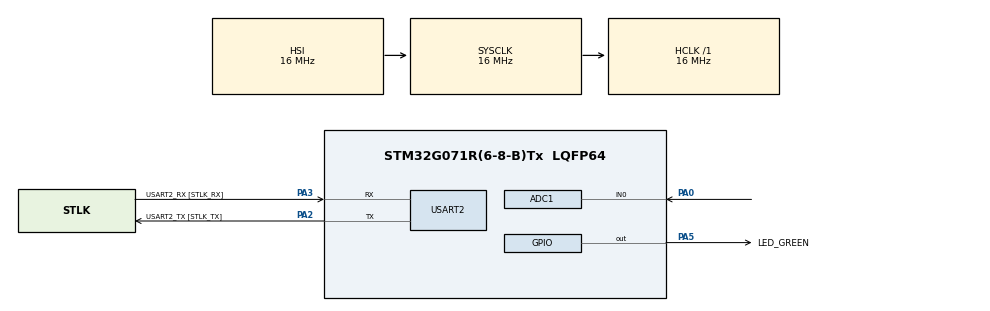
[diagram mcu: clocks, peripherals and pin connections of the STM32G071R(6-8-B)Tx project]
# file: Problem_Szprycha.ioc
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ADC1.Channel-1\#ChannelRegularConversion=ADC_CHANNEL_0
ADC1.ContinuousConvMode=ENABLE
ADC1.DMAContinuousRequests=DISABLE
ADC1.NbrOfConversionFlag=1
ADC1.Rank-1\#ChannelRegularConversion=1
ADC1.SamplingTime-1\#ChannelRegularConversion=ADC_SAMPLINGTIME_COMMON_1
ADC1.SelectedChannel=ADC_CHANNEL_0
ADC1.master=1
Dma.ADC1.0.Direction=DMA_PERIPH_TO_MEMORY
Dma.ADC1.0.EventEnable=DISABLE
Dma.ADC1.0.Instance=DMA1_Channel1
Dma.ADC1.0.MemDataAlignment=DMA_MDATAALIGN_HALFWORD
Dma.ADC1.0.MemInc=DMA_MINC_ENABLE
Dma.ADC1.0.Mode=DMA_CIRCULAR
Dma.ADC1.0.PeriphDataAlignment=DMA_PDATAALIGN_HALFWORD
Dma.ADC1.0.PeriphInc=DMA_PINC_DISABLE
Dma.ADC1.0.Polarity=HAL_DMAMUX_REQ_GEN_RISING
Dma.ADC1.0.Priority=DMA_PRIORITY_LOW
Dma.ADC1.0.RequestNumber=1
Dma.ADC1.0.SignalID=NONE
Dma.ADC1.0.SyncEnable=DISABLE
Dma.ADC1.0.SyncPolarity=HAL_DMAMUX_SYNC_NO_EVENT
Dma.ADC1.0.SyncRequestNumber=1
Dma.ADC1.0.SyncSignalID=NONE
Dma.Request0=ADC1
Mcu.Family=STM32G0
Mcu.Name=STM32G071R(6-8-B)Tx
Mcu.Package=LQFP64
PA0.Mode=IN0
PA0.Signal=ADC1_IN0
PA13.GPIO_Label=TMS
PA13.Mode=Serial_Wire
PA13.Signal=SYS_SWDIO
PA14-BOOT0.GPIO_Label=TCK
PA14-BOOT0.Mode=Serial_Wire
PA14-BOOT0.Signal=SYS_SWCLK
PA2.GPIO_Label=USART2_TX [STLK_TX]
PA2.GPIO_PuPd=GPIO_PULLUP
PA2.Mode=Asynchronous
PA2.Signal=USART2_TX
PA3.GPIO_Label=USART2_RX [STLK_RX]
PA3.GPIO_PuPd=GPIO_PULLUP
PA3.Mode=Asynchronous
PA3.Signal=USART2_RX
PA5.GPIO_Label=LED_GREEN
PA5.GPIO_Speed=GPIO_SPEED_FREQ_HIGH
PA5.Signal=GPIO_Output
PC13.Mode=SYS_WakeUp1
PC13.Signal=SYS_WKUP2
PC14-OSC32_IN\ (PC14).Mode=LSE-External-Oscillator
PC14-OSC32_IN\ (PC14).Signal=RCC_OSC32_IN
PC15-OSC32_OUT\ (PC15).Mode=LSE-External-Oscillator
PC15-OSC32_OUT\ (PC15).Signal=RCC_OSC32_OUT
PF0-OSC_IN\ (PF0).GPIO_Label=MCO
PF0-OSC_IN\ (PF0).Mode=HSE-External-Clock-Source
PF0-OSC_IN\ (PF0).Signal=RCC_OSC_IN
ProjectManager.HeapSize=0x200
ProjectManager.StackSize=0x400
ProjectManager.TargetToolchain=STM32CubeIDE
RCC.AHBFreq_Value=16000000
RCC.CortexFreq_Value=16000000
RCC.EXTERNAL_CLOCK_VALUE=12288000
RCC.HCLKFreq_Value=16000000
RCC.HSE_VALUE=8000000
RCC.HSI_VALUE=16000000
RCC.SYSCLKFreq_VALUE=16000000
RCC.VCOOutputFreq_Value=128000000
USART2.VirtualMode-Asynchronous=VM_ASYNC
VP_SYS_VS_DBSignals.Mode=DisableDeadBatterySignals
board=NUCLEO-G071RB

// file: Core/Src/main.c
/* USER CODE BEGIN Header */
/**
  ******************************************************************************
  * @file           : main.c
  * @brief          : Main program body
  ******************************************************************************
  * @attention
  *
  * Copyright (c) 2024 STMicroelectronics.
  * All rights reserved.
  *
  * This software is licensed under terms that can be found in the LICENSE file
  * in the root directory of this software component.
  * If no LICENSE file comes with this software, it is provided AS-IS.
  *
  ******************************************************************************
  */
/* USER CODE END Header */
#include "main.h"

/* USER CODE BEGIN Includes */
#include <stdio.h>
/* USER CODE END Includes */

ADC_HandleTypeDef hadc1;
DMA_HandleTypeDef hdma_adc1;

UART_HandleTypeDef huart2;

/* USER CODE BEGIN PV */
volatile uint16_t adcVal[10];
uint16_t adcValTest;
/* USER CODE END PV */

void SystemClock_Config(void);
static void MX_GPIO_Init(void);
static void MX_DMA_Init(void);
static void MX_USART2_UART_Init(void);
static void MX_ADC1_Init(void);
/* USER CODE BEGIN PFP */
#ifdef __GNUC__
/* With GCC/RAISONANCE, small printf (option LD Linker->Libraries->Small printf
   set to 'Yes') calls __io_putchar() */
#define PUTCHAR_PROTOTYPE int __io_putchar(int ch)
#else
#define PUTCHAR_PROTOTYPE int fputc(int ch, FILE *f)
#endif /* __GNUC__ */
/* USER CODE END PFP */

int main(void)
{

  /* MCU Configuration--------------------------------------------------------*/

  /* Reset of all peripherals, Initializes the Flash interface and the Systick. */
  HAL_Init();

  /* Configure the system clock */
  SystemClock_Config();

  /* Initialize all configured peripherals */
  MX_GPIO_Init();
  MX_DMA_Init();
  MX_USART2_UART_Init();
  MX_ADC1_Init();
  /* USER CODE BEGIN 2 */
  HAL_ADC_Start_DMA(&hadc1, (uint32_t*)&adcVal, 10);
  /* USER CODE END 2 */

  /* Infinite loop */
  /* USER CODE BEGIN WHILE */
  while (1)
  {
	  printf("ADC: %d, %d, %d \n\r", adcVal[0], adcVal[1], adcVal[3]);
	  HAL_Delay(100);
	  adcValTest = adcVal[0];
	  printf("AdcValTest: %d \n\r", adcValTest);
	  HAL_ADC_Start_DMA(&hadc1, (uint32_t*)&adcVal, 10);
    /* USER CODE END WHILE */

  }
}

void SystemClock_Config(void)
{
  RCC_OscInitTypeDef RCC_OscInitStruct = {0};
  RCC_ClkInitTypeDef RCC_ClkInitStruct = {0};

  /** Configure the main internal regulator output voltage
  */
  HAL_PWREx_ControlVoltageScaling(PWR_REGULATOR_VOLTAGE_SCALE1);

  /** Initializes the RCC Oscillators according to the specified parameters
  * in the RCC_OscInitTypeDef structure.
  */
  RCC_OscInitStruct.OscillatorType = RCC_OSCILLATORTYPE_HSI;
  RCC_OscInitStruct.HSIState = RCC_HSI_ON;
  RCC_OscInitStruct.HSIDiv = RCC_HSI_DIV1;
  RCC_OscInitStruct.HSICalibrationValue = RCC_HSICALIBRATION_DEFAULT;
  RCC_OscInitStruct.PLL.PLLState = RCC_PLL_NONE;
  if (HAL_RCC_OscConfig(&RCC_OscInitStruct) != HAL_OK)
  {
    Error_Handler();
  }

  /** Initializes the CPU, AHB and APB buses clocks
  */
  RCC_ClkInitStruct.ClockType = RCC_CLOCKTYPE_HCLK|RCC_CLOCKTYPE_SYSCLK
                              |RCC_CLOCKTYPE_PCLK1;
  RCC_ClkInitStruct.SYSCLKSource = RCC_SYSCLKSOURCE_HSI;
  RCC_ClkInitStruct.AHBCLKDivider = RCC_SYSCLK_DIV1;
  RCC_ClkInitStruct.APB1CLKDivider = RCC_HCLK_DIV1;

  if (HAL_RCC_ClockConfig(&RCC_ClkInitStruct, FLASH_LATENCY_0) != HAL_OK)
  {
    Error_Handler();
  }
}

static void MX_ADC1_Init(void)
{

  ADC_ChannelConfTypeDef sConfig = {0};

  /** Configure the global features of the ADC (Clock, Resolution, Data Alignment and number of conversion)
  */
  hadc1.Instance = ADC1;
  hadc1.Init.ClockPrescaler = ADC_CLOCK_SYNC_PCLK_DIV2;
  hadc1.Init.Resolution = ADC_RESOLUTION_12B;
  hadc1.Init.DataAlign = ADC_DATAALIGN_RIGHT;
  hadc1.Init.ScanConvMode = ADC_SCAN_DISABLE;
  hadc1.Init.EOCSelection = ADC_EOC_SINGLE_CONV;
  hadc1.Init.LowPowerAutoWait = DISABLE;
  hadc1.Init.LowPowerAutoPowerOff = DISABLE;
  hadc1.Init.ContinuousConvMode = ENABLE;
  hadc1.Init.NbrOfConversion = 1;
  hadc1.Init.ExternalTrigConv = ADC_SOFTWARE_START;
  hadc1.Init.ExternalTrigConvEdge = ADC_EXTERNALTRIGCONVEDGE_NONE;
  hadc1.Init.DMAContinuousRequests = DISABLE;
  hadc1.Init.Overrun = ADC_OVR_DATA_PRESERVED;
  hadc1.Init.SamplingTimeCommon1 = ADC_SAMPLETIME_1CYCLE_5;
  hadc1.Init.SamplingTimeCommon2 = ADC_SAMPLETIME_1CYCLE_5;
  hadc1.Init.OversamplingMode = DISABLE;
  hadc1.Init.TriggerFrequencyMode = ADC_TRIGGER_FREQ_HIGH;
  if (HAL_ADC_Init(&hadc1) != HAL_OK)
  {
    Error_Handler();
  }

  /** Configure Regular Channel
  */
  sConfig.Channel = ADC_CHANNEL_0;
  sConfig.Rank = ADC_REGULAR_RANK_1;
  sConfig.SamplingTime = ADC_SAMPLINGTIME_COMMON_1;
  if (HAL_ADC_ConfigChannel(&hadc1, &sConfig) != HAL_OK)
  {
    Error_Handler();
  }

}

static void MX_USART2_UART_Init(void)
{

  huart2.Instance = USART2;
  huart2.Init.BaudRate = 115200;
  huart2.Init.WordLength = UART_WORDLENGTH_8B;
  huart2.Init.StopBits = UART_STOPBITS_1;
  huart2.Init.Parity = UART_PARITY_NONE;
  huart2.Init.Mode = UART_MODE_TX_RX;
  huart2.Init.HwFlowCtl = UART_HWCONTROL_NONE;
  huart2.Init.OverSampling = UART_OVERSAMPLING_16;
  huart2.Init.OneBitSampling = UART_ONE_BIT_SAMPLE_DISABLE;
  huart2.Init.ClockPrescaler = UART_PRESCALER_DIV1;
  huart2.AdvancedInit.AdvFeatureInit = UART_ADVFEATURE_NO_INIT;
  if (HAL_UART_Init(&huart2) != HAL_OK)
  {
    Error_Handler();
  }
  if (HAL_UARTEx_SetTxFifoThreshold(&huart2, UART_TXFIFO_THRESHOLD_1_8) != HAL_OK)
  {
    Error_Handler();
  }
  if (HAL_UARTEx_SetRxFifoThreshold(&huart2, UART_RXFIFO_THRESHOLD_1_8) != HAL_OK)
  {
    Error_Handler();
  }
  if (HAL_UARTEx_DisableFifoMode(&huart2) != HAL_OK)
  {
    Error_Handler();
  }

}

static void MX_DMA_Init(void)
{

  /* DMA controller clock enable */
  __HAL_RCC_DMA1_CLK_ENABLE();

}

static void MX_GPIO_Init(void)
{
  GPIO_InitTypeDef GPIO_InitStruct = {0};

  /* GPIO Ports Clock Enable */
  __HAL_RCC_GPIOC_CLK_ENABLE();
  __HAL_RCC_GPIOF_CLK_ENABLE();
  __HAL_RCC_GPIOA_CLK_ENABLE();

  /*Configure GPIO pin Output Level */
  HAL_GPIO_WritePin(LED_GREEN_GPIO_Port, LED_GREEN_Pin, GPIO_PIN_RESET);

  /*Configure GPIO pin : LED_GREEN_Pin */
  GPIO_InitStruct.Pin = LED_GREEN_Pin;
  GPIO_InitStruct.Mode = GPIO_MODE_OUTPUT_PP;
  GPIO_InitStruct.Pull = GPIO_NOPULL;
  GPIO_InitStruct.Speed = GPIO_SPEED_FREQ_HIGH;
  HAL_GPIO_Init(LED_GREEN_GPIO_Port, &GPIO_InitStruct);

}

/* USER CODE BEGIN 4 */
/**
  * @brief  Retargets the C library printf function to the USART.
  * @param  None
  * @retval None
  */
PUTCHAR_PROTOTYPE
{
  /* Place your implementation of fputc here */
  /* e.g. write a character to the USART1 and Loop until the end of transmission */
  HAL_UART_Transmit(&huart2, (uint8_t *)&ch, 1, 0xFFFF);

  return ch;
}
/* USER CODE END 4 */

void Error_Handler(void)
{
  __disable_irq();
  while (1)
  {
  }
}
